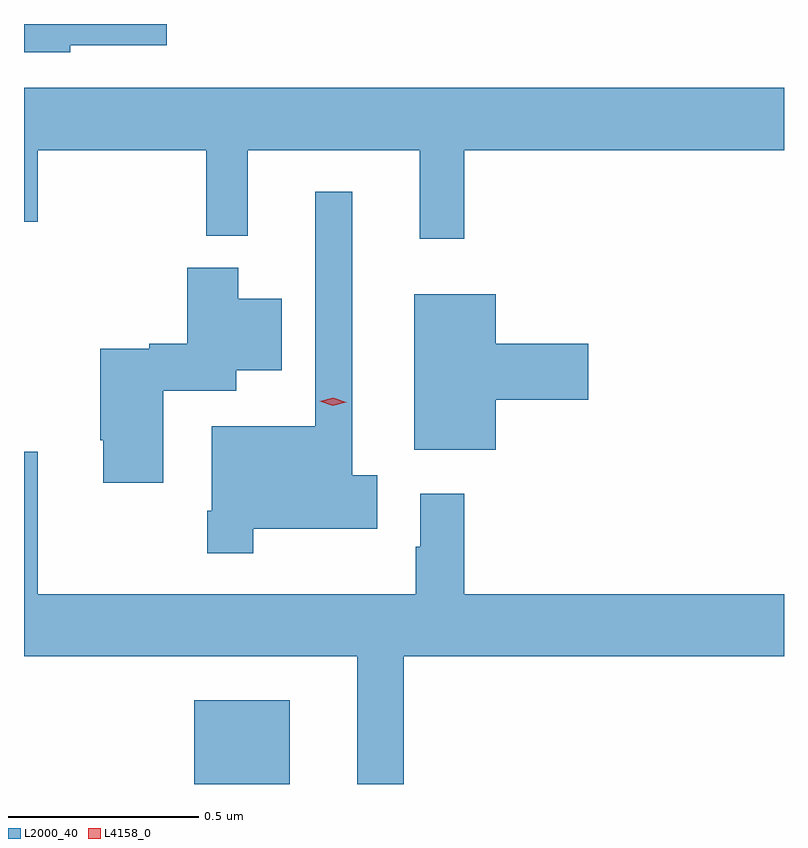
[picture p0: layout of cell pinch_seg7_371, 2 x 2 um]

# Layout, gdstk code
import gdstk
lib = gdstk.Library(unit=1e-6, precision=1e-09)
def R(c, l, rs):  # rectangles x0, y0, x1, y1
    for r in rs: c.add(gdstk.rectangle(r[:2], r[2:], *l))
def P(c, l, *ps):  # polygons
    for p in ps: c.add(gdstk.Polygon(p, *l))
L2000_40 = (2000, 40)
L4158_0 = (4158, 0)

pinch_seg7_371 = lib.new_cell('pinch_seg7_371')
R(pinch_seg7_371, L2000_40, [(429.32,1020.26,429.571,1020.481)])
P(pinch_seg7_371, L2000_40, [(428.994,1022.204),(429.247,1022.204),(429.247,1022.26),(428.872,1022.26),(428.872,1022.186),(428.994,1022.186)],
  [(430.031,1021.928),(430.872,1021.928),(430.872,1022.092),(428.872,1022.092),(428.872,1021.74),(428.908,1021.74),(428.908,1021.928),(429.351,1021.928),(429.351,1021.703),(429.461,1021.703),(429.461,1021.928),(429.914,1021.928),(429.914,1021.695),(430.031,1021.695)],
  [(429.475,1020.932),(429.802,1020.932),(429.802,1021.073),(429.736,1021.073),(429.736,1021.819),(429.639,1021.819),(429.639,1021.201),(429.366,1021.201),(429.366,1020.979),(429.354,1020.979),(429.354,1020.867),(429.475,1020.867)],
  [(429.238,1021.295),(429.43,1021.295),(429.43,1021.349),(429.55,1021.349),(429.55,1021.537),(429.436,1021.537),(429.436,1021.618),(429.302,1021.618),(429.302,1021.418),(429.201,1021.418),(429.201,1021.405),(429.073,1021.405),(429.073,1021.165),(429.08,1021.165),(429.08,1021.053),(429.238,1021.053)],
  [(430.114,1021.271),(430.357,1021.271),(430.357,1021.418),(430.114,1021.418),(430.114,1021.549),(429.899,1021.549),(429.899,1021.139),(430.114,1021.139)],
  [(429.871,1020.596),(430.872,1020.596),(430.872,1020.76),(430.031,1020.76),(430.031,1021.024),(429.915,1021.024),(429.915,1020.884),(429.903,1020.884),(429.903,1020.76),(428.908,1020.76),(428.908,1021.135),(428.872,1021.135),(428.872,1020.596),(429.749,1020.596),(429.749,1020.26),(429.871,1020.26)])
P(pinch_seg7_371, L4158_0, [(429.685,1021.256),(429.65,1021.267),(429.65,1021.267),(429.65,1021.267),(429.686,1021.276),(429.72,1021.264),(429.721,1021.264),(429.72,1021.264)])

lib.write_gds('pinch_seg7_371.gds')
